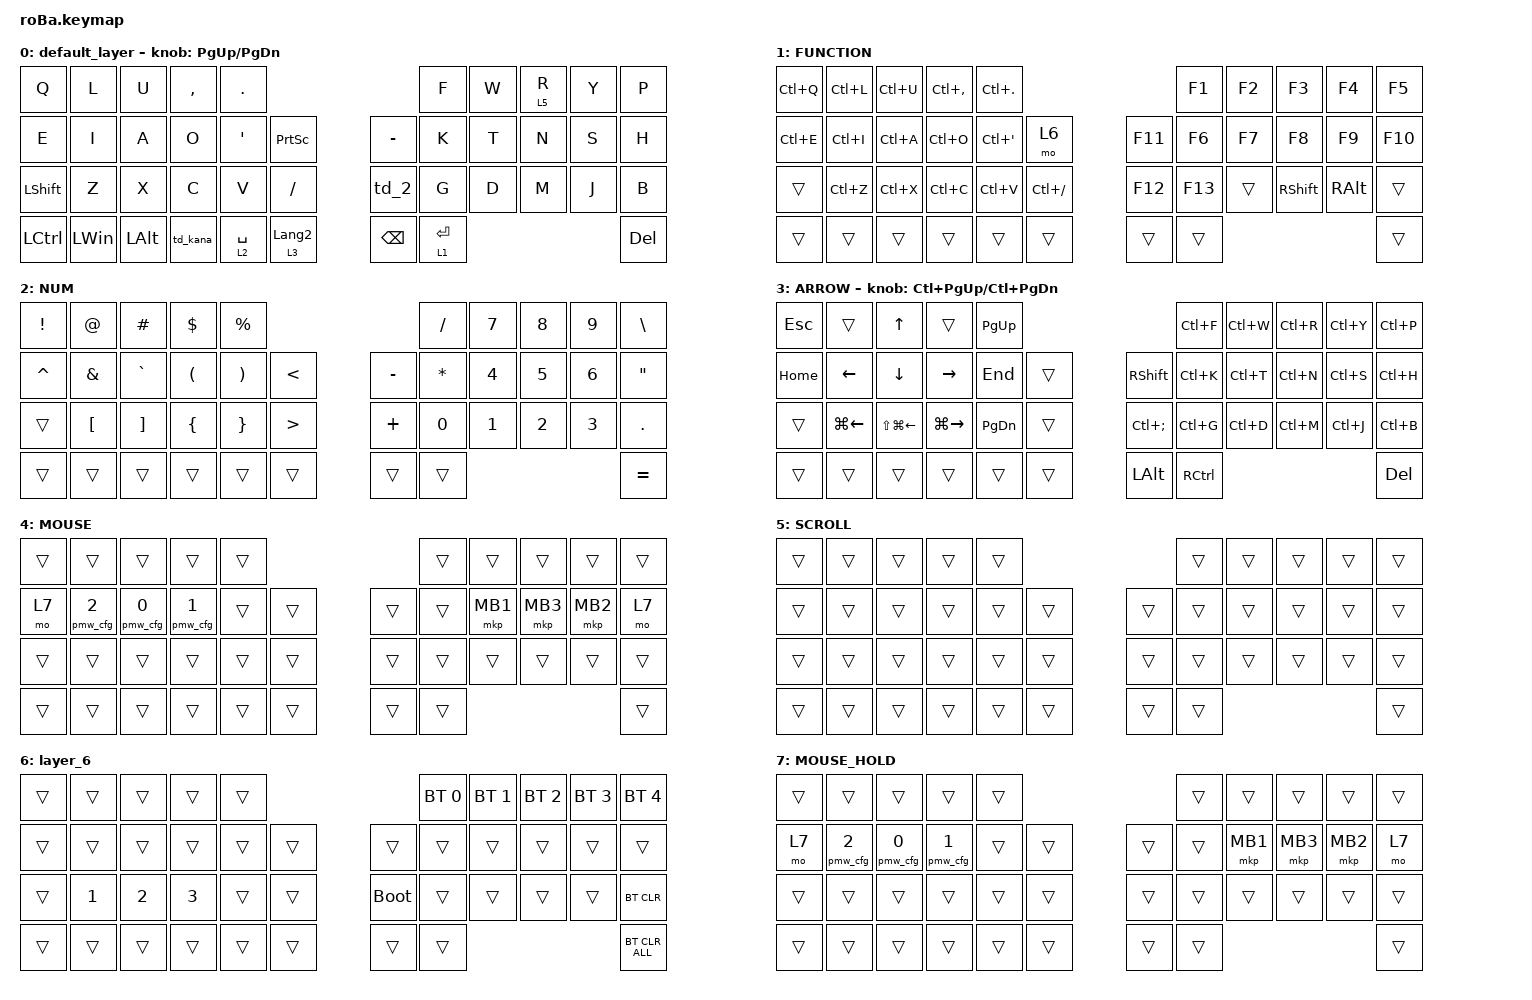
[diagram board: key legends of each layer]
#include <behaviors.dtsi>
#include <dt-bindings/zmk/bt.h>
#include <dt-bindings/zmk/keys.h>
#include <dt-bindings/zmk/pointing.h>

#define MOUSE 4
#define SCROLL 5
#define NUM 6

&mt {
    flavor = "balanced";
    quick-tap-ms = <0>;
};

/ {
    combos {
        compatible = "zmk,combos";

        tab {
            bindings = <&kp TAB>;
            key-positions = <11 12>;
            layers = <0>;
        };

        shift_tab {
            bindings = <&kp LS(TAB)>;
            key-positions = <12 13>;
            layers = <0>;
        };

        muhennkann {
            bindings = <&to_layer_0 INT_MUHENKAN>;
            key-positions = <11 10>;
        };

        double_quotation {
            bindings = <&kp DOUBLE_QUOTES>;
            key-positions = <20 21>;
        };

        eq {
            bindings = <&kp EQUAL>;
            key-positions = <24 25>;
        };

        ctrl_tab {
            bindings = <&kp LC(TAB)>;
            key-positions = <11 12>;
            layers = <1>;
        };

        ctrl_shift_tab {
            bindings = <&kp LC(LS(TAB))>;
            key-positions = <12 13>;
            layers = <1>;
        };
    };

    macros {
        to_layer_0: to_layer_0 {
            compatible = "zmk,behavior-macro-one-param";
            #binding-cells = <1>;
            bindings = <&to 0 &macro_param_1to1 &kp MACRO_PLACEHOLDER>;
            label = "TO_LAYER_0";
        };
    };

    behaviors {
        lt_to_layer_0: lt_to_layer_0 {
            compatible = "zmk,behavior-hold-tap";
            label = "LAYER_TAP_TO_0";
            bindings = <&mo>, <&to_layer_0>;

            #binding-cells = <2>;
            tapping-term-ms = <200>;
        };

        pmw_cfg: pmw_cfg {
            compatible = "zmk,behavior-pmw3610-config";
            #binding-cells = <1>;
        };

        td_kana: td_kana {
            compatible = "zmk,behavior-tap-dance";
            #binding-cells = <0>;
            tapping-term-ms = <200>;
            bindings = <&lt_to_layer_0 6 LANGUAGE_1>, <&kp SPACE>;
        };

        td_enter: td_enter {
            compatible = "zmk,behavior-tap-dance";
            #binding-cells = <0>;
            tapping-term-ms = <200>;
            bindings = <&lt 1 ENTER>, <&mo 3>;
        };

        td_1: td_1 {
            compatible = "zmk,behavior-tap-dance";
            #binding-cells = <0>;
            tapping-term-ms = <200>;
            bindings = <&kp BACKSPACE>, <&mo 3>;
        };

        td_2: td_2 {
            compatible = "zmk,behavior-tap-dance";
            #binding-cells = <0>;
            tapping-term-ms = <200>;
            bindings = <&kp SEMICOLON>, <&mo 3>;
        };
    };

    keymap {
        compatible = "zmk,keymap";

        default_layer {
            bindings = <
&kp Q           &kp L         &kp U         &kp COMMA  &kp DOT                                                      &kp F        &kp W  &lt 5 R  &kp Y  &kp P
&kp E           &kp I         &kp A         &kp O      &kp SQT      &kp PSCRN                        &kp MINUS      &kp K        &kp T  &kp N    &kp S  &kp H
&kp LEFT_SHIFT  &kp Z         &kp X         &kp C      &kp V        &kp SLASH                        &td_2          &kp G        &kp D  &kp M    &kp J  &kp B
&kp LCTRL       &kp LEFT_WIN  &kp LEFT_ALT  &td_kana   &lt 2 SPACE  &lt_to_layer_0 3 LANGUAGE_2      &kp BACKSPACE  &lt 1 ENTER                         &kp DEL
            >;

            sensor-bindings = <&inc_dec_kp PG_UP PAGE_DOWN>;
        };

        FUNCTION {
            bindings = <
&kp LC(Q)  &kp LC(L)  &kp LC(U)  &kp LC(COMMA)  &kp LC(DOT)                              &kp F1   &kp F2  &kp F3           &kp F4         &kp F5
&kp LC(E)  &kp LC(I)  &kp LC(A)  &kp LC(O)      &kp LC(SQT)  &mo 6              &kp F11  &kp F6   &kp F7  &kp F8           &kp F9         &kp F10
&trans     &kp LC(Z)  &kp LC(X)  &kp LC(C)      &kp LC(V)    &kp LC(SLASH)      &kp F12  &kp F13  &trans  &kp RIGHT_SHIFT  &kp RIGHT_ALT  &trans
&trans     &trans     &trans     &trans         &trans       &trans             &trans   &trans                                           &trans
            >;
        };

        NUM {
            bindings = <
&kp EXCLAMATION  &kp AT_SIGN       &kp HASH           &kp DOLLAR            &kp PERCENT                                             &kp SLASH     &kp NUMBER_7  &kp NUMBER_8  &kp NUMBER_9  &kp BACKSLASH
&kp CARET        &kp AMPERSAND     &kp GRAVE          &kp LEFT_PARENTHESIS  &kp RIGHT_PARENTHESIS  &kp LESS_THAN         &kp MINUS  &kp ASTERISK  &kp NUMBER_4  &kp NUMBER_5  &kp NUMBER_6  &kp DOUBLE_QUOTES
&trans           &kp LEFT_BRACKET  &kp RIGHT_BRACKET  &kp LEFT_BRACE        &kp RIGHT_BRACE        &kp GREATER_THAN      &kp PLUS   &kp NUMBER_0  &kp NUMBER_1  &kp NUMBER_2  &kp NUMBER_3  &kp PERIOD
&trans           &trans            &trans             &trans                &trans                 &trans                &trans     &trans                                                  &kp EQUAL
            >;
        };

        ARROW {
            bindings = <
&kp ESCAPE  &trans          &kp UP_ARROW      &trans           &kp PG_UP                                 &kp LC(F)          &kp LC(W)  &kp LC(R)  &kp LC(Y)  &kp LC(P)
&kp HOME    &kp LEFT_ARROW  &kp DOWN_ARROW    &kp RIGHT_ARROW  &kp END    &trans      &kp RIGHT_SHIFT    &kp LC(K)          &kp LC(T)  &kp LC(N)  &kp LC(S)  &kp LC(H)
&trans      &kp LG(LEFT)    &kp LS(LG(LEFT))  &kp LG(RIGHT)    &kp PG_DN  &trans      &kp LC(SEMICOLON)  &kp LC(G)          &kp LC(D)  &kp LC(M)  &kp LC(J)  &kp LC(B)
&trans      &trans          &trans            &trans           &trans     &trans      &kp LEFT_ALT       &kp RIGHT_CONTROL                                   &kp DELETE
            >;

            sensor-bindings = <&inc_dec_kp LC(PAGE_UP) LC(PAGE_DOWN)>;
        };

        MOUSE {
            bindings = <
&trans  &trans      &trans      &trans      &trans                      &trans  &trans    &trans    &trans    &trans
&mo 7   &pmw_cfg 2  &pmw_cfg 0  &pmw_cfg 1  &trans  &trans      &trans  &trans  &mkp MB1  &mkp MB3  &mkp MB2  &mo 7
&trans  &trans      &trans      &trans      &trans  &trans      &trans  &trans  &trans    &trans    &trans    &trans
&trans  &trans      &trans      &trans      &trans  &trans      &trans  &trans                                &trans
            >;
        };

        SCROLL {
            bindings = <
&trans  &trans  &trans  &trans  &trans                      &trans  &trans  &trans  &trans  &trans
&trans  &trans  &trans  &trans  &trans  &trans      &trans  &trans  &trans  &trans  &trans  &trans
&trans  &trans  &trans  &trans  &trans  &trans      &trans  &trans  &trans  &trans  &trans  &trans
&trans  &trans  &trans  &trans  &trans  &trans      &trans  &trans                          &trans
            >;
        };

        layer_6 {
            bindings = <
&trans  &trans        &trans        &trans        &trans                           &bt BT_SEL 0  &bt BT_SEL 1  &bt BT_SEL 2  &bt BT_SEL 3  &bt BT_SEL 4
&trans  &trans        &trans        &trans        &trans  &trans      &trans       &trans        &trans        &trans        &trans        &trans
&trans  &kp NUMBER_1  &kp NUMBER_2  &kp NUMBER_3  &trans  &trans      &bootloader  &trans        &trans        &trans        &trans        &bt BT_CLR
&trans  &trans        &trans        &trans        &trans  &trans      &trans       &trans                                                  &bt BT_CLR_ALL
            >;
        };

        MOUSE_HOLD {
            bindings = <
&trans  &trans      &trans      &trans      &trans                      &trans  &trans    &trans    &trans    &trans
&mo 7   &pmw_cfg 2  &pmw_cfg 0  &pmw_cfg 1  &trans  &trans      &trans  &trans  &mkp MB1  &mkp MB3  &mkp MB2  &mo 7
&trans  &trans      &trans      &trans      &trans  &trans      &trans  &trans  &trans    &trans    &trans    &trans
&trans  &trans      &trans      &trans      &trans  &trans      &trans  &trans                                &trans
            >;
        };
    };
};
